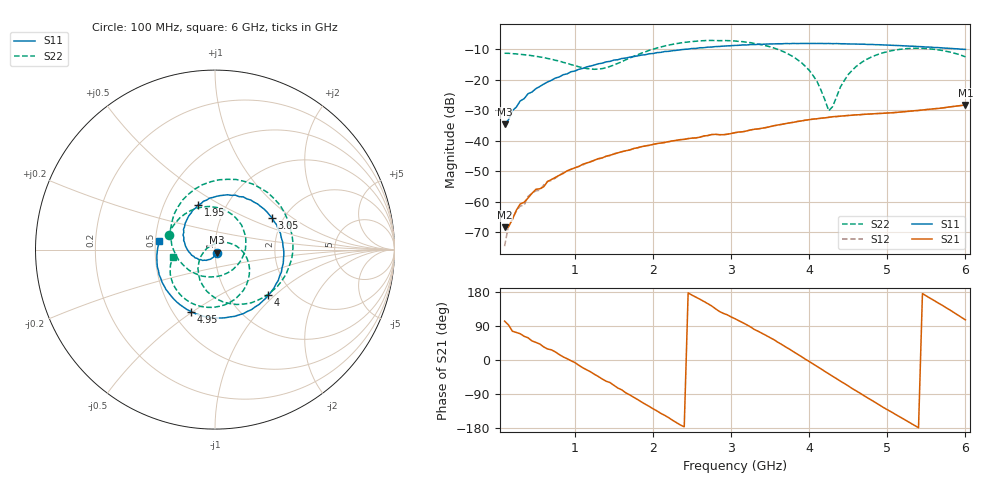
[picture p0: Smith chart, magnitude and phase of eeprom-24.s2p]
! Created with skrf 2.0.0 (http://scikit-rf.org).
# Hz S RI R 50.0
!freq ReS11 ImS11 ReS21 ImS21 ReS12 ImS12 ReS22 ImS22
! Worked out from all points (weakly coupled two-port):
!   119 points, 100 MHz to 6 GHz, reference 50 ohm
!   highest |S21| = -28.31 dB at 6 GHz (marker M1); lowest = -68.5 dB at 100 MHz (marker M2)
!   lowest |S11| = -34.7 dB at 100 MHz (marker M3), VSWR 1.04, Z = 50.8 - j1.66 ohm
!   |S11| at or under -10 dB: start of sweep to 2.449 GHz; 5.936 GHz to end of sweep
!   |S22| runs from -30.2 to -7.2 dB; largest |S21 - S12| = 0.00025
!   S11 on the Smith chart (normalised r, x): 100 MHz: 1.02, -0.03; 1.95 GHz: 0.74, +0.39; 3.05 GHz: 1.75, +0.71; 4 GHz: 1.52, -0.91; 4.95 GHz: 0.62, -0.49; 6 GHz: 0.53, +0.06
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1e8  0.00867 -0.0163  -8.18e-05 0.000367  7.02e-05 0.000171  -0.259 0.0786
1.5e8  0.00485 -0.0215  -1.66e-05 0.000383  9.24e-05 0.000391  -0.2439 0.1157
3e8  -0.00974 -0.0436  0.000323 0.000851  0.000306 0.000787  -0.1685 0.1978
3.5e8  -0.0152 -0.0462  0.000447 0.000861  0.000393 0.000774  -0.1347 0.2178
4e8  -0.0246 -0.0532  0.000596 0.000978  0.000635 0.00103  -0.1019 0.2303
8e8  -0.099 -0.049  0.00261 0.000669  0.00259 0.000746  0.1478 0.1374
1.1e9  -0.1526 -0.00191  0.00382 -0.00142  0.00368 -0.00144  0.1455 -0.0594
1.5e9  -0.1752 0.114  0.00236 -0.00552  0.00238 -0.00561  -0.1112 -0.1329
1.95e9  -0.0952 0.248  -0.00446 -0.00706  -0.00449 -0.00701  -0.2283 0.1971
2.1e9  -0.0471 0.2756  -0.00705 -0.00575  -0.00698 -0.00579  -0.1482 0.3083
2.5e9  0.1131 0.3033  -0.0108 0.00169  -0.0109 0.00171  0.2111 0.3647
2.75e9  0.2162 0.2651  -0.00998 0.00758  -0.00993 0.00762  0.3856 0.2087
3.05e9  0.3177 0.1771  -0.00439 0.0128  -0.00441 0.0127  0.4271 -0.0536
3.55e9  0.3818 -0.0521  0.0105 0.0141  0.0105 0.0139  0.1219 -0.3059
4e9  0.2974 -0.255  0.022 -0.0015  0.0219 -0.00141  -0.0951 -0.1059
4.05e9  0.2819 -0.2718  0.0221 -0.00411  0.022 -0.00416  -0.0903 -0.0735
4.25e9  0.2033 -0.3345  0.0194 -0.0143  0.0194 -0.0142  -0.0214 0.0222
4.5e9  0.0859 -0.3747  0.00952 -0.024  0.00934 -0.024  0.1195 0.02
4.95e9  -0.1318 -0.3458  -0.0162 -0.0229  -0.0162 -0.0229  0.1581 -0.2269
5.05e9  -0.1734 -0.322  -0.0208 -0.0195  -0.0209 -0.0195  0.1136 -0.2751
5.4e9  -0.2839 -0.2012  -0.0313 -0.000722  -0.0311 -0.000682  -0.1058 -0.3089
6e9  -0.3092 0.0483  -0.0106 0.0369  -0.0104 0.0368  -0.2325 -0.0417
